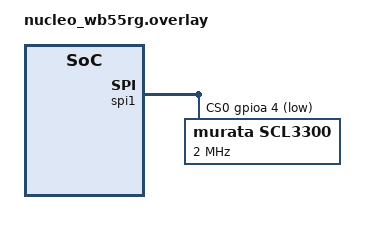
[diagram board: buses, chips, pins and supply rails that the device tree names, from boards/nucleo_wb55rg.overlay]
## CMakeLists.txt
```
# SPDX-FileCopyrightText: Copyright The Zephyr Project Contributors
# SPDX-License-Identifier: Apache-2.0

cmake_minimum_required(VERSION 3.20.0)

find_package(Zephyr REQUIRED HINTS $ENV{ZEPHYR_BASE})
project(scl3300)

target_sources(app PRIVATE src/main.c)
```

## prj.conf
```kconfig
CONFIG_SENSOR=y
CONFIG_SCL3300=y

CONFIG_LOG=y
CONFIG_LOG_DEFAULT_LEVEL=3

CONFIG_SERIAL=y
CONFIG_CONSOLE=y
CONFIG_UART_CONSOLE=y

CONFIG_RTIO=y
CONFIG_SPI=y
CONFIG_SPI_RTIO=y

CONFIG_RTIO_CQE_CALLBACK=y
```

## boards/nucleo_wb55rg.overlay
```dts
&spi1 {
    status = "okay";
    pinctrl-names = "default";
   
    cs-gpios = <&gpioa 4 GPIO_ACTIVE_LOW>;

    scl3300: scl3300@0 {
        compatible = "murata,scl3300";
        reg = <0>;
        spi-max-frequency = <2000000>;
        status = "okay";
    };
};
```

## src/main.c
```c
/*
 * SPDX-FileCopyrightText: Copyright The Zephyr Project Contributors
 *
 * SPDX-License-Identifier: Apache-2.0
 */

#include <zephyr/kernel.h>
#include <zephyr/device.h>
#include <zephyr/drivers/sensor.h>
#include <zephyr/drivers/spi.h>
#include <zephyr/rtio/rtio.h>
#include <zephyr/sys/printk.h>
#include <zephyr/sys/byteorder.h>
#include <zephyr/logging/log.h>

#include <errno.h>
#include <stdint.h>
#include <string.h>

LOG_MODULE_REGISTER(scl3300_poc, LOG_LEVEL_INF);

#define SCL3300_FRAME_SIZE 4U

#define SCL3300_CMD_WHOAMI   0x40000091U
#define SCL3300_CMD_SW_RESET 0xB4002098U
#define SCL3300_CMD_MODE1    0xB400001FU
#define SCL3300_CMD_ANG_CTRL 0xB0001F6FU
#define SCL3300_CMD_STATUS   0x180000E5U

enum scl3300_init_state {
	STATE_WHOAMI_FRAME,
	STATE_RESET_FRAME,
	STATE_MODE1_FRAME,
	STATE_ANGLE_FRAME,
	STATE_STATUS1_FRAME,
	STATE_STATUS2_FRAME,
	STATE_STATUS3_FRAME,
	STATE_DONE,
};

RTIO_DEFINE(scl3300_rtio, 2, 2);

SPI_DT_IODEV_DEFINE(scl3300_spi_iodev,
		    DT_NODELABEL(scl3300),
		    SPI_WORD_SET(8) | SPI_TRANSFER_MSB);

static uint8_t g_tx_buf[SCL3300_FRAME_SIZE];
static uint8_t g_rx_buf[SCL3300_FRAME_SIZE];
static enum scl3300_init_state g_init_state;

static void scl3300_prepare_command(uint32_t command)
{
	sys_put_be32(command, g_tx_buf);
}

static int scl3300_decode(const uint8_t *data, size_t len)
{
	uint8_t rs;

	if (len < SCL3300_FRAME_SIZE) {
		return -EINVAL;
	}

	LOG_INF("SCL3300 RX: %02x %02x %02x %02x",
		data[0], data[1], data[2], data[3]);

	return 0;
}

static int scl3300_spi_submit(struct rtio *ctx)
{
	struct rtio_sqe *sqe;

	/* Required minimum inter-frame delay */
	k_busy_wait(10);

	sqe = rtio_sqe_acquire(ctx);
	if (sqe == NULL) {
		LOG_ERR("No RTIO SQE available");
		return -ENOMEM;
	}

	rtio_sqe_prep_transceive(sqe,
				 &scl3300_spi_iodev,
				 RTIO_PRIO_NORM,
				 g_tx_buf,
				 g_rx_buf,
				 sizeof(g_tx_buf),
				 NULL);

	rtio_submit(ctx, 0);

	return 0;
}

static int scl3300_send_command(struct rtio *ctx, uint32_t command)
{
	scl3300_prepare_command(command);
	return scl3300_spi_submit(ctx);
}

static void scl3300_cqe_callback(struct rtio *r, void *user_data)
{
	struct rtio_cqe *cqe;
	int ret = 0;

	ARG_UNUSED(user_data);

	cqe = rtio_cqe_consume(r);
	if (cqe == NULL) {
		return;
	}

	if (cqe->result < 0) {
		LOG_ERR("SPI transfer failed: %d", cqe->result);
		rtio_cqe_release(r, cqe);
		return;
	}

	rtio_cqe_release(r, cqe);

	switch (g_init_state) {
	case STATE_WHOAMI_FRAME:
		g_init_state = STATE_RESET_FRAME;
		ret = scl3300_send_command(r, SCL3300_CMD_SW_RESET);
		break;

	case STATE_RESET_FRAME:
		LOG_INF("WHOAMI response:");
		(void)scl3300_decode(g_rx_buf, sizeof(g_rx_buf));

		k_busy_wait(1000);

		g_init_state = STATE_MODE1_FRAME;
		ret = scl3300_send_command(r, SCL3300_CMD_MODE1);
		break;

	case STATE_MODE1_FRAME:
		g_init_state = STATE_ANGLE_FRAME;
		ret = scl3300_send_command(r, SCL3300_CMD_ANG_CTRL);
		break;

	case STATE_ANGLE_FRAME:
		k_busy_wait(25000);

		g_init_state = STATE_STATUS1_FRAME;
		ret = scl3300_send_command(r, SCL3300_CMD_STATUS);
		break;

	case STATE_STATUS1_FRAME:
		g_init_state = STATE_STATUS2_FRAME;
		ret = scl3300_send_command(r, SCL3300_CMD_STATUS);
		break;

	case STATE_STATUS2_FRAME:
		LOG_INF("STATUS response before clear verification:");
		(void)scl3300_decode(g_rx_buf, sizeof(g_rx_buf));

		g_init_state = STATE_STATUS3_FRAME;
		ret = scl3300_send_command(r, SCL3300_CMD_STATUS);
		break;

	case STATE_STATUS3_FRAME:
		LOG_INF("STATUS response after clear:");
		(void)scl3300_decode(g_rx_buf, sizeof(g_rx_buf));

		g_init_state = STATE_DONE;
		LOG_INF("Initialization sequence completed");
		break;

	case STATE_DONE:
	default:
		break;
	}

	if (ret < 0) {
		LOG_ERR("Failed to submit next command: %d", ret);
	}
}

int main(void)
{
	int ret;

	LOG_INF("SCL3300 WHOAMI + initialization POC");

	ret = rtio_set_cqe_callback(&scl3300_rtio,
				    scl3300_cqe_callback,
				    NULL);
	if (ret < 0) {
		LOG_ERR("Failed to register RTIO callback: %d", ret);
		return ret;
	}

	/* Start by reading the device ID */
	g_init_state = STATE_WHOAMI_FRAME;

	ret = scl3300_send_command(&scl3300_rtio, SCL3300_CMD_WHOAMI);
	if (ret < 0) {
		LOG_ERR("WHOAMI submission failed: %d", ret);
		return ret;
	}

	while (1) {
		k_sleep(K_SECONDS(1));
	}

	return 0;
}
```
